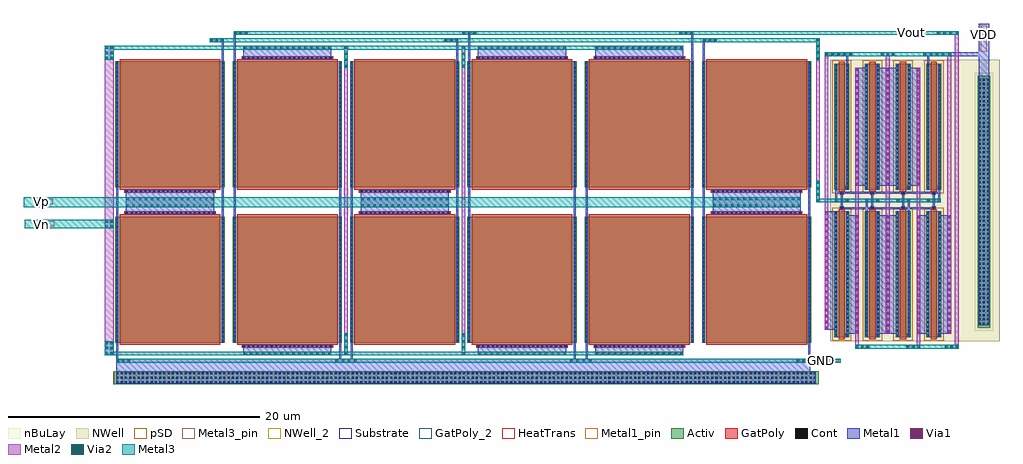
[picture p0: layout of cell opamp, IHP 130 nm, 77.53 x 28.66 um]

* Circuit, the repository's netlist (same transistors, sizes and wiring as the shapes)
** sch_path: /shared/designs/Layouts/ib_ctat_ptat/opamp.sch
.subckt opamp VDD Vp Vn GND Vout
*.PININFO VDD:B Vp:I Vn:I GND:B Vout:O
M4 net1 Vp GND net2 sg13_lv_nmos w=10u l=8u ng=1 m=6
M5 net1 net1 VDD net3 sg13_lv_pmos w=10u l=0.5u ng=1 m=4
M7 Vout net1 VDD net3 sg13_lv_pmos w=10u l=0.5u ng=1 m=4
M8 Vout Vn GND net2 sg13_lv_nmos w=10u l=8u ng=1 m=6
R1 VDD net3 ntap1 A=1e-11 P=4.1e-05
R2 GND net2 ptap1 A=5.6e-11 P=0.000114
.ends

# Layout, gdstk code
from math import pi, radians
import gdstk
lib = gdstk.Library(unit=1e-6, precision=5e-09)
def R(c, l, rs):  # rectangles x0, y0, x1, y1
    for r in rs: c.add(gdstk.rectangle(r[:2], r[2:], *l))
def A(c, l, x, y, w, h, nx, ny, dx, dy):  # array of equal rectangles
    R(c, l, [(x+i*dx, y+j*dy, x+i*dx+w, y+j*dy+h) for i in range(nx) for j in range(ny)])
Activ = (1, 0)
GatPoly = (5, 0)
GatPoly_2 = (5, 2)
Cont = (6, 0)
Metal1 = (8, 0)
Metal1_pin = (8, 2)
Metal2 = (10, 0)
pSD = (14, 0)
Via1 = (19, 0)
Via2 = (29, 0)
Metal3 = (30, 0)
Metal3_pin = (30, 2)
NWell = (31, 0)
NWell_2 = (31, 2)
nBuLay = (32, 0)
Substrate = (40, 0)
HeatTrans = (51, 0)

nmos_1 = lib.new_cell('nmos$1')
R(nmos_1, Activ, [(0,0,0.3,0.3), (0,0,8.68,10), (8.38,0,8.68,0.3)])
R(nmos_1, GatPoly, [(0.34,-0.18,8.34,10.18)])
R(nmos_1, GatPoly_2, [(0.34,-0.18,8.34,10.18)])
A(nmos_1, Cont, 0.07, 0.07, 0.16, 0.16, 1, 4, 0, 0.345)
A(nmos_1, Cont, 8.45, 0.07, 0.16, 0.16, 1, 4, 0, 0.345)
A(nmos_1, Cont, 0.07, 1.455, 0.16, 0.16, 1, 3, 0, 0.345)
A(nmos_1, Cont, 8.45, 1.455, 0.16, 0.16, 1, 3, 0, 0.345)
A(nmos_1, Cont, 0.07, 2.495, 0.16, 0.16, 1, 4, 0, 0.345)
A(nmos_1, Cont, 8.45, 2.495, 0.16, 0.16, 1, 4, 0, 0.345)
A(nmos_1, Cont, 0.07, 3.88, 0.16, 0.16, 1, 3, 0, 0.345)
A(nmos_1, Cont, 8.45, 3.88, 0.16, 0.16, 1, 3, 0, 0.345)
A(nmos_1, Cont, 0.07, 4.92, 0.16, 0.16, 1, 4, 0, 0.345)
A(nmos_1, Cont, 8.45, 4.92, 0.16, 0.16, 1, 4, 0, 0.345)
A(nmos_1, Cont, 0.07, 6.305, 0.16, 0.16, 1, 3, 0, 0.345)
A(nmos_1, Cont, 8.45, 6.305, 0.16, 0.16, 1, 3, 0, 0.345)
A(nmos_1, Cont, 0.07, 7.345, 0.16, 0.16, 1, 4, 0, 0.345)
A(nmos_1, Cont, 8.45, 7.345, 0.16, 0.16, 1, 4, 0, 0.345)
A(nmos_1, Cont, 0.07, 8.73, 0.16, 0.16, 1, 3, 0, 0.345)
A(nmos_1, Cont, 8.45, 8.73, 0.16, 0.16, 1, 3, 0, 0.345)
R(nmos_1, Cont, [(0.07,9.77,0.23,9.93), (8.45,9.77,8.61,9.93)])
R(nmos_1, Metal1, [(0.07,0,0.23,10), (8.45,0,8.61,10)])
R(nmos_1, Metal1_pin, [(0.07,0,0.23,10), (8.45,0,8.61,10)])
R(nmos_1, HeatTrans, [(0.34,-0.18,8.34,10.18)])
nmos_1.add(gdstk.Label('nmos', (4.34,5), layer=63, texttype=0))
nmos_1.add(gdstk.Label('nmos', (4.34,5), layer=51, texttype=0))

via_stack_13 = lib.new_cell('via_stack$13')
R(via_stack_13, Metal2, [(-0.145,-0.865,0.145,0.865)])
A(via_stack_13, Via2, -0.095, -0.815, 0.19, 0.19, 1, 4, 0, 0.48)
R(via_stack_13, Metal3, [(-0.145,-0.865,0.145,0.865)])

via_stack_10 = lib.new_cell('via_stack$10')
R(via_stack_10, Metal1, [(-3.505,-0.385,3.505,0.385)])
R(via_stack_10, Metal2, [(-3.505,-0.385,3.505,0.385)])
A(via_stack_10, Via1, -3.455, -0.335, 0.19, 0.19, 15, 2, 0.48, 0.48)
A(via_stack_10, Via2, -3.455, -0.335, 0.19, 0.19, 15, 2, 0.48, 0.48)
R(via_stack_10, Metal3, [(-3.505,-0.385,3.505,0.385)])

via_stack_8 = lib.new_cell('via_stack$8')
R(via_stack_8, Metal1, [(-3.505,-0.145,3.505,0.145)])
R(via_stack_8, Metal2, [(-3.505,-0.145,3.505,0.145)])
A(via_stack_8, Via1, -3.455, -0.095, 0.19, 0.19, 15, 1, 0.48, 0)
A(via_stack_8, Via2, -3.455, -0.095, 0.19, 0.19, 15, 1, 0.48, 0)
R(via_stack_8, Metal3, [(-3.505,-0.145,3.505,0.145)])

via_stack_14 = lib.new_cell('via_stack$14')
R(via_stack_14, Metal1, [(-0.865,-0.145,0.865,0.145)])
R(via_stack_14, Metal2, [(-0.865,-0.145,0.865,0.145)])
A(via_stack_14, Via1, -0.815, -0.095, 0.19, 0.19, 4, 1, 0.48, 0)
A(via_stack_14, Via2, -0.815, -0.095, 0.19, 0.19, 4, 1, 0.48, 0)
R(via_stack_14, Metal3, [(-0.865,-0.145,0.865,0.145)])

via_stack = lib.new_cell('via_stack')
R(via_stack, Metal1, [(-0.555,-0.145,0.555,0.145)])
R(via_stack, Metal2, [(-0.555,-0.145,0.555,0.145)])
A(via_stack, Via1, -0.505, -0.095, 0.19, 0.19, 3, 1, 0.41, 0)
A(via_stack, Via2, -0.505, -0.095, 0.19, 0.19, 3, 1, 0.41, 0)
R(via_stack, Metal3, [(-0.555,-0.145,0.555,0.145)])

pmos_1 = lib.new_cell('pmos$1')
R(pmos_1, Activ, [(0,0,0.3,0.3), (0,0,1.18,10), (0.88,0,1.18,0.3)])
R(pmos_1, GatPoly, [(0.34,-0.18,0.84,10.18), (0.34,-0.18,0.84,10.18)])
A(pmos_1, Cont, 0.07, 0.07, 0.16, 0.16, 1, 4, 0, 0.345)
A(pmos_1, Cont, 0.95, 0.07, 0.16, 0.16, 1, 4, 0, 0.345)
A(pmos_1, Cont, 0.07, 1.455, 0.16, 0.16, 1, 3, 0, 0.345)
A(pmos_1, Cont, 0.95, 1.455, 0.16, 0.16, 1, 3, 0, 0.345)
A(pmos_1, Cont, 0.07, 2.495, 0.16, 0.16, 1, 4, 0, 0.345)
A(pmos_1, Cont, 0.95, 2.495, 0.16, 0.16, 1, 4, 0, 0.345)
A(pmos_1, Cont, 0.07, 3.88, 0.16, 0.16, 1, 3, 0, 0.345)
A(pmos_1, Cont, 0.95, 3.88, 0.16, 0.16, 1, 3, 0, 0.345)
A(pmos_1, Cont, 0.07, 4.92, 0.16, 0.16, 1, 4, 0, 0.345)
A(pmos_1, Cont, 0.95, 4.92, 0.16, 0.16, 1, 4, 0, 0.345)
A(pmos_1, Cont, 0.07, 6.305, 0.16, 0.16, 1, 3, 0, 0.345)
A(pmos_1, Cont, 0.95, 6.305, 0.16, 0.16, 1, 3, 0, 0.345)
A(pmos_1, Cont, 0.07, 7.345, 0.16, 0.16, 1, 4, 0, 0.345)
A(pmos_1, Cont, 0.95, 7.345, 0.16, 0.16, 1, 4, 0, 0.345)
A(pmos_1, Cont, 0.07, 8.73, 0.16, 0.16, 1, 3, 0, 0.345)
A(pmos_1, Cont, 0.95, 8.73, 0.16, 0.16, 1, 3, 0, 0.345)
R(pmos_1, Cont, [(0.07,9.77,0.23,9.93), (0.95,9.77,1.11,9.93)])
R(pmos_1, Metal1, [(0.07,0,0.23,10), (0.07,0,0.23,10), (0.95,0,1.11,10), (0.95,0,1.11,10)])
R(pmos_1, pSD, [(-0.18,-0.3,1.36,10.3)])
R(pmos_1, NWell, [(-0.31,-0.31,1.49,10.31)])
R(pmos_1, Substrate, [(0.88,0,1.18,0.3)])
R(pmos_1, HeatTrans, [(0.34,-0.18,0.84,10.18)])
pmos_1.add(gdstk.Label('pmos', (0.59,5), layer=63, texttype=0))
pmos_1.add(gdstk.Label('pmos', (0.59,5), layer=51, texttype=0))

via_stack_3 = lib.new_cell('via_stack$3')
R(via_stack_3, Metal1, [(-0.145,-4.705,0.145,4.705)])
R(via_stack_3, Metal2, [(-0.145,-4.705,0.145,4.705)])
A(via_stack_3, Via1, -0.095, -4.655, 0.19, 0.19, 1, 20, 0, 0.48)

via_stack_4 = lib.new_cell('via_stack$4')
R(via_stack_4, Metal1, [(-1.105,-0.145,1.105,0.145)])
R(via_stack_4, Metal2, [(-1.105,-0.145,1.105,0.145)])
A(via_stack_4, Via1, -1.055, -0.095, 0.19, 0.19, 5, 1, 0.48, 0)
A(via_stack_4, Via2, -1.055, -0.095, 0.19, 0.19, 5, 1, 0.48, 0)
R(via_stack_4, Metal3, [(-1.105,-0.145,1.105,0.145)])

via_stack_5 = lib.new_cell('via_stack$5')
R(via_stack_5, Metal2, [(-0.555,-0.145,0.555,0.145)])
A(via_stack_5, Via2, -0.505, -0.095, 0.19, 0.19, 3, 1, 0.41, 0)
R(via_stack_5, Metal3, [(-0.555,-0.145,0.555,0.145)])

via_stack_15 = lib.new_cell('via_stack$15')
R(via_stack_15, Metal2, [(-0.35,-0.555,0.35,0.555)])
A(via_stack_15, Via2, -0.3, -0.505, 0.19, 0.19, 1, 3, 0, 0.41)
A(via_stack_15, Via2, 0.11, -0.505, 0.19, 0.19, 1, 3, 0, 0.41)
R(via_stack_15, Metal3, [(-0.35,-0.555,0.35,0.555)])

via_stack_11 = lib.new_cell('via_stack$11')
R(via_stack_11, Metal2, [(-0.35,-0.35,0.35,0.35)])
R(via_stack_11, Via2, [(-0.3,-0.3,-0.11,-0.11), (0.11,-0.3,0.3,-0.11), (-0.3,0.11,-0.11,0.3), (0.11,0.11,0.3,0.3)])
R(via_stack_11, Metal3, [(-0.35,-0.35,0.35,0.35)])

via_stack_16 = lib.new_cell('via_stack$16')
R(via_stack_16, Metal2, [(-0.865,-0.145,0.865,0.145)])
A(via_stack_16, Via2, -0.815, -0.095, 0.19, 0.19, 4, 1, 0.48, 0)
R(via_stack_16, Metal3, [(-0.865,-0.145,0.865,0.145)])

ntap1_1 = lib.new_cell('ntap1$1')
R(ntap1_1, Activ, [(0,0,1,20)])
A(ntap1_1, Cont, 0.08, 0.23, 0.16, 0.16, 3, 58, 0.34, 0.34)
R(ntap1_1, Metal1, [(0.08,0.18,0.92,19.82)])
R(ntap1_1, Metal1_pin, [(0.08,0.18,0.92,19.82), (0.08,0.23,0.92,19.77)])
R(ntap1_1, NWell, [(-0.24,-0.24,1.24,20.24), (0,0,1,20)])
R(ntap1_1, NWell_2, [(0,0,1,20)])
R(ntap1_1, nBuLay, [(-0.24,-0.24,1.24,20.24)])
ntap1_1.add(gdstk.Label('well', (0.5,0.01), layer=63, texttype=0))
ntap1_1.add(gdstk.Label('well', (0.5,0.01), layer=31, texttype=0))

ptap1 = lib.new_cell('ptap1')
R(ptap1, Activ, [(0,0,56,1)])
A(ptap1, Cont, 0.21, 0.08, 0.16, 0.16, 164, 3, 0.34, 0.34)
R(ptap1, Metal1, [(0.21,0.03,55.79,0.97), (0.21,0.08,55.79,0.92)])
R(ptap1, Metal1_pin, [(0.21,0.08,55.79,0.92)])
R(ptap1, pSD, [(-0.03,-0.03,56.03,1.03)])
R(ptap1, Substrate, [(0,0,56,1)])
ptap1.add(gdstk.Label('sub!', (28,0.01), layer=63, texttype=0))
ptap1.add(gdstk.Label('sub!', (28,0.01), layer=40, texttype=0))

opamp = lib.new_cell('opamp')
A(opamp, GatPoly, 87.01, 12.655, 0.31, 0.235, 4, 2, 2.44, 1.125)
R(opamp, GatPoly, [(39.49,1.64,46.77,1.875), (58.13,1.64,65.41,1.875), (58.13,1.64,65.41,1.875), (67.45,1.64,74.73,1.875), (67.45,1.64,74.73,1.875), (30.17,12.235,37.45,12.47), (48.81,12.235,56.09,12.47), (48.81,12.235,56.09,12.47), (76.77,12.235,84.05,12.47), (30.17,13.965,37.45,14.2), (48.81,13.965,56.09,14.2), (48.81,13.965,56.09,14.2), (76.77,13.965,84.05,14.2), (76.77,13.965,84.05,14.2), (39.49,24.56,46.77,24.795), (58.13,24.56,65.41,24.795), (67.45,24.56,74.73,24.795)])
A(opamp, Cont, 39.63, 1.715, 0.16, 0.16, 20, 2, 0.36, 22.845)
A(opamp, Cont, 30.31, 12.235, 0.16, 0.16, 20, 2, 0.36, 1.805)
A(opamp, Cont, 76.91, 12.235, 0.16, 0.16, 20, 1, 0.36, 0)
A(opamp, Cont, 87.085, 12.655, 0.16, 0.16, 4, 2, 2.44, 1.2)
A(opamp, Cont, 58.27, 24.56, 0.16, 0.16, 20, 1, 0.36, 0)
A(opamp, Cont, 67.59, 24.56, 0.16, 0.16, 20, 1, 0.36, 0)
R(opamp, Cont, [(58.27,1.715,58.43,1.875), (58.27,1.715,58.43,1.875), (58.63,1.715,58.79,1.875), (58.63,1.715,58.79,1.875), (58.99,1.715,59.15,1.875), (58.99,1.715,59.15,1.875), (59.35,1.715,59.51,1.875), (59.35,1.715,59.51,1.875), (59.71,1.715,59.87,1.875), (59.71,1.715,59.87,1.875), (60.07,1.715,60.23,1.875), (60.07,1.715,60.23,1.875), (60.43,1.715,60.59,1.875), (60.43,1.715,60.59,1.875), (60.79,1.715,60.95,1.875), (60.79,1.715,60.95,1.875), (61.15,1.715,61.31,1.875), (61.15,1.715,61.31,1.875), (61.51,1.715,61.67,1.875), (61.51,1.715,61.67,1.875), (61.87,1.715,62.03,1.875), (61.87,1.715,62.03,1.875), (62.23,1.715,62.39,1.875), (62.23,1.715,62.39,1.875), (62.59,1.715,62.75,1.875), (62.59,1.715,62.75,1.875), (62.95,1.715,63.11,1.875), (62.95,1.715,63.11,1.875), (63.31,1.715,63.47,1.875), (63.31,1.715,63.47,1.875), (63.67,1.715,63.83,1.875), (63.67,1.715,63.83,1.875), (64.03,1.715,64.19,1.875), (64.03,1.715,64.19,1.875), (64.39,1.715,64.55,1.875), (64.39,1.715,64.55,1.875), (64.75,1.715,64.91,1.875), (64.75,1.715,64.91,1.875), (65.11,1.715,65.27,1.875), (65.11,1.715,65.27,1.875), (67.59,1.715,67.75,1.875), (67.59,1.715,67.75,1.875), (67.95,1.715,68.11,1.875), (67.95,1.715,68.11,1.875), (68.31,1.715,68.47,1.875), (68.31,1.715,68.47,1.875), (68.67,1.715,68.83,1.875), (68.67,1.715,68.83,1.875), (69.03,1.715,69.19,1.875), (69.03,1.715,69.19,1.875), (69.39,1.715,69.55,1.875), (69.39,1.715,69.55,1.875), (69.75,1.715,69.91,1.875), (69.75,1.715,69.91,1.875), (70.11,1.715,70.27,1.875), (70.11,1.715,70.27,1.875), (70.47,1.715,70.63,1.875), (70.47,1.715,70.63,1.875), (70.83,1.715,70.99,1.875), (70.83,1.715,70.99,1.875), (71.19,1.715,71.35,1.875), (71.19,1.715,71.35,1.875), (71.55,1.715,71.71,1.875), (71.55,1.715,71.71,1.875), (71.91,1.715,72.07,1.875), (71.91,1.715,72.07,1.875), (72.27,1.715,72.43,1.875), (72.27,1.715,72.43,1.875), (72.63,1.715,72.79,1.875), (72.63,1.715,72.79,1.875), (72.99,1.715,73.15,1.875), (72.99,1.715,73.15,1.875), (73.35,1.715,73.51,1.875), (73.35,1.715,73.51,1.875), (73.71,1.715,73.87,1.875), (73.71,1.715,73.87,1.875), (74.07,1.715,74.23,1.875), (74.07,1.715,74.23,1.875), (74.43,1.715,74.59,1.875), (74.43,1.715,74.59,1.875), (48.95,12.235,49.11,12.395), (48.95,12.235,49.11,12.395), (49.31,12.235,49.47,12.395), (49.31,12.235,49.47,12.395), (49.67,12.235,49.83,12.395), (49.67,12.235,49.83,12.395), (50.03,12.235,50.19,12.395), (50.03,12.235,50.19,12.395), (50.39,12.235,50.55,12.395), (50.39,12.235,50.55,12.395), (50.75,12.235,50.91,12.395), (50.75,12.235,50.91,12.395), (51.11,12.235,51.27,12.395), (51.11,12.235,51.27,12.395), (51.47,12.235,51.63,12.395), (51.47,12.235,51.63,12.395), (51.83,12.235,51.99,12.395), (51.83,12.235,51.99,12.395), (52.19,12.235,52.35,12.395), (52.19,12.235,52.35,12.395), (52.55,12.235,52.71,12.395), (52.55,12.235,52.71,12.395), (52.91,12.235,53.07,12.395), (52.91,12.235,53.07,12.395), (53.27,12.235,53.43,12.395), (53.27,12.235,53.43,12.395), (53.63,12.235,53.79,12.395), (53.63,12.235,53.79,12.395), (53.99,12.235,54.15,12.395), (53.99,12.235,54.15,12.395), (54.35,12.235,54.51,12.395), (54.35,12.235,54.51,12.395), (54.71,12.235,54.87,12.395), (54.71,12.235,54.87,12.395), (55.07,12.235,55.23,12.395), (55.07,12.235,55.23,12.395), (55.43,12.235,55.59,12.395), (55.43,12.235,55.59,12.395), (55.79,12.235,55.95,12.395), (55.79,12.235,55.95,12.395), (48.95,14.04,49.11,14.2), (48.95,14.04,49.11,14.2), (49.31,14.04,49.47,14.2), (49.31,14.04,49.47,14.2), (49.67,14.04,49.83,14.2), (49.67,14.04,49.83,14.2), (50.03,14.04,50.19,14.2), (50.03,14.04,50.19,14.2), (50.39,14.04,50.55,14.2), (50.39,14.04,50.55,14.2), (50.75,14.04,50.91,14.2), (50.75,14.04,50.91,14.2), (51.11,14.04,51.27,14.2), (51.11,14.04,51.27,14.2), (51.47,14.04,51.63,14.2), (51.47,14.04,51.63,14.2), (51.83,14.04,51.99,14.2), (51.83,14.04,51.99,14.2), (52.19,14.04,52.35,14.2), (52.19,14.04,52.35,14.2), (52.55,14.04,52.71,14.2), (52.55,14.04,52.71,14.2), (52.91,14.04,53.07,14.2), (52.91,14.04,53.07,14.2), (53.27,14.04,53.43,14.2), (53.27,14.04,53.43,14.2), (53.63,14.04,53.79,14.2), (53.63,14.04,53.79,14.2), (53.99,14.04,54.15,14.2), (53.99,14.04,54.15,14.2), (54.35,14.04,54.51,14.2), (54.35,14.04,54.51,14.2), (54.71,14.04,54.87,14.2), (54.71,14.04,54.87,14.2), (55.07,14.04,55.23,14.2), (55.07,14.04,55.23,14.2), (55.43,14.04,55.59,14.2), (55.43,14.04,55.59,14.2), (55.79,14.04,55.95,14.2), (55.79,14.04,55.95,14.2), (76.91,14.04,77.07,14.2), (76.91,14.04,77.07,14.2), (77.27,14.04,77.43,14.2), (77.27,14.04,77.43,14.2), (77.63,14.04,77.79,14.2), (77.63,14.04,77.79,14.2), (77.99,14.04,78.15,14.2), (77.99,14.04,78.15,14.2), (78.35,14.04,78.51,14.2), (78.35,14.04,78.51,14.2), (78.71,14.04,78.87,14.2), (78.71,14.04,78.87,14.2), (79.07,14.04,79.23,14.2), (79.07,14.04,79.23,14.2), (79.43,14.04,79.59,14.2), (79.43,14.04,79.59,14.2), (79.79,14.04,79.95,14.2), (79.79,14.04,79.95,14.2), (80.15,14.04,80.31,14.2), (80.15,14.04,80.31,14.2), (80.51,14.04,80.67,14.2), (80.51,14.04,80.67,14.2), (80.87,14.04,81.03,14.2), (80.87,14.04,81.03,14.2), (81.23,14.04,81.39,14.2), (81.23,14.04,81.39,14.2), (81.59,14.04,81.75,14.2), (81.59,14.04,81.75,14.2), (81.95,14.04,82.11,14.2), (81.95,14.04,82.11,14.2), (82.31,14.04,82.47,14.2), (82.31,14.04,82.47,14.2), (82.67,14.04,82.83,14.2), (82.67,14.04,82.83,14.2), (83.03,14.04,83.19,14.2), (83.03,14.04,83.19,14.2), (83.39,14.04,83.55,14.2), (83.39,14.04,83.55,14.2), (83.75,14.04,83.91,14.2), (83.75,14.04,83.91,14.2)])
A(opamp, Metal1, 87.085, 12.655, 0.16, 0.825, 4, 2, 2.44, 0.535)
R(opamp, Metal1, [(29.54,-1.215,84.68,0.75), (29.54,0.46,29.7,24.38), (47.24,0.46,47.4,24.38), (48.18,0.46,48.34,24.38), (65.88,0.46,66.04,24.38), (66.82,0.46,66.98,24.38), (84.52,0.46,84.68,24.38), (39.625,1.05,46.635,1.875), (58.265,1.05,65.275,1.875), (67.585,1.05,74.595,1.875), (39.555,1.715,46.705,1.875), (58.195,1.715,65.345,1.875), (67.515,1.715,74.665,1.875), (37.92,2.055,38.08,26.21), (38.86,2.055,39.02,26.8), (56.56,2.055,56.72,26.21), (57.5,2.055,57.66,26.8), (75.2,2.055,75.36,26.8), (76.14,2.055,76.3,26.21), (86.645,2.475,86.805,12.475), (87.525,2.475,87.685,12.475), (89.085,2.475,89.245,13.48), (89.965,2.475,90.125,12.475), (91.525,2.475,91.685,12.475), (92.405,2.475,92.565,13.48), (93.965,2.475,94.125,12.475), (94.845,2.475,95.005,12.475), (87.525,2.77,88.53,12.18), (89.965,2.77,91.685,12.18), (93.12,2.77,94.125,12.18), (94.845,2.77,95.85,12.18), (85.8,3.065,86.805,12.475), (98.045,3.42,98.885,27.39), (30.235,12.235,37.385,12.395), (30.305,12.235,37.315,13.175), (48.875,12.235,56.025,12.395), (48.945,12.235,55.955,13.145), (76.835,12.235,83.985,12.395), (76.905,12.235,83.915,13.145), (87.01,12.655,94.64,12.815), (48.945,13.145,55.955,14.2), (76.905,13.145,83.915,14.2), (86.645,13.19,86.805,24.195), (94.845,13.19,95.005,24.195), (30.305,13.26,37.315,14.2), (86.645,13.855,95.005,14.015), (30.235,14.04,37.385,14.2), (48.875,14.04,56.025,14.2), (76.835,14.04,83.985,14.2), (87.525,14.195,87.685,25.095), (89.085,14.195,89.245,24.195), (89.965,14.195,90.125,24.195), (91.525,14.195,91.685,24.195), (92.405,14.195,92.565,24.195), (92.405,14.195,92.565,24.195), (93.965,14.195,94.125,25.095), (88.24,14.49,89.245,23.9), (89.965,14.49,91.685,23.9), (92.405,14.49,93.41,23.9), (39.555,24.56,46.705,24.72), (39.625,24.56,46.635,25.62), (58.195,24.56,65.345,24.72), (58.265,24.56,65.275,25.62), (67.515,24.56,74.665,24.72), (67.585,24.56,74.595,25.62), (93.64,24.805,98.885,25.095)])
R(opamp, Metal1_pin, [(98.225,25.135,98.68,27.23)])
R(opamp, Metal2, [(28.62,1.05,29.32,25.62), (56.965,1.05,57.255,25.62), (47.645,1.135,47.935,25.62), (88.24,1.575,88.53,23.9), (93.12,1.575,93.41,23.9), (96.155,1.575,96.445,26.8), (95.56,2.77,95.85,25.095), (90.68,3.01,90.97,25.095), (85.8,3.065,86.09,25.095), (85.13,13.19,85.42,26.21)])
R(opamp, Metal3, [(29.54,0.46,87.105,0.75), (28.62,1.05,74.595,1.34), (48.945,1.05,74.595,1.34), (88.24,1.575,96.445,1.865), (22.265,11.115,29.32,11.815), (22.17,12.815,83.915,13.585), (85.13,13.19,95.04,13.48), (85.8,24.805,95.85,25.095), (28.62,25.33,74.595,25.62), (36.97,25.92,85.42,26.21), (38.86,26.51,96.445,26.8)])
R(opamp, Metal3_pin, [(85.745,0.52,86.96,0.69), (23.02,11.295,24.62,11.685), (23.015,13.045,24.5,13.47), (91.875,26.59,93.465,26.74)])
R(opamp, NWell, [(86.265,2.165,99.7,24.505)])
opamp.add(gdstk.Reference(nmos_1, (29.47,2.055)))
opamp.add(gdstk.Reference(nmos_1, (38.79,2.055)))
opamp.add(gdstk.Reference(nmos_1, (48.11,2.055)))
opamp.add(gdstk.Reference(nmos_1, (57.43,2.055)))
opamp.add(gdstk.Reference(nmos_1, (66.75,2.055)))
opamp.add(gdstk.Reference(nmos_1, (76.07,2.055)))
opamp.add(gdstk.Reference(via_stack_13, (47.79,24.755)))
opamp.add(gdstk.Reference(via_stack_10, (52.45,13.2)))
opamp.add(gdstk.Reference(via_stack_8, (43.13,1.195), x_reflection=True))
opamp.add(gdstk.Reference(via_stack_10, (80.41,13.2)))
opamp.add(gdstk.Reference(via_stack_8, (61.77,1.195), x_reflection=True))
opamp.add(gdstk.Reference(via_stack_8, (71.09,1.195), x_reflection=True))
opamp.add(gdstk.Reference(via_stack_13, (57.11,1.915)))
opamp.add(gdstk.Reference(via_stack_8, (43.13,25.475), x_reflection=True))
opamp.add(gdstk.Reference(via_stack_8, (61.77,25.475), x_reflection=True))
opamp.add(gdstk.Reference(via_stack_8, (71.09,25.475), x_reflection=True))
opamp.add(gdstk.Reference(nmos_1, (29.47,14.38)))
opamp.add(gdstk.Reference(nmos_1, (38.79,14.38)))
opamp.add(gdstk.Reference(nmos_1, (48.11,14.38)))
opamp.add(gdstk.Reference(nmos_1, (57.43,14.38)))
opamp.add(gdstk.Reference(nmos_1, (66.75,14.38)))
opamp.add(gdstk.Reference(nmos_1, (76.07,14.38)))
opamp.add(gdstk.Reference(via_stack_10, (33.81,13.2)))
opamp.add(gdstk.Reference(via_stack_13, (47.79,1.915)))
opamp.add(gdstk.Reference(via_stack_14, (47.79,0.605)))
opamp.add(gdstk.Reference(via_stack, (37.525,26.065)))
opamp.add(gdstk.Reference(via_stack_14, (66.43,0.605)))
opamp.add(gdstk.Reference(via_stack, (84.125,0.605)))
opamp.add(gdstk.Reference(via_stack, (30.095,0.605)))
opamp.add(gdstk.Reference(via_stack, (56.165,26.065)))
opamp.add(gdstk.Reference(via_stack, (76.695,26.065)))
opamp.add(gdstk.Reference(via_stack, (39.415,26.655)))
opamp.add(gdstk.Reference(via_stack, (74.805,26.655)))
opamp.add(gdstk.Reference(via_stack, (57.58,26.655)))
opamp.add(gdstk.Reference(pmos_1, (86.575,2.475)))
opamp.add(gdstk.Reference(pmos_1, (89.015,2.475)))
opamp.add(gdstk.Reference(pmos_1, (91.455,2.475)))
opamp.add(gdstk.Reference(pmos_1, (93.895,2.475)))
opamp.add(gdstk.Reference(via_stack, (89.605,13.335)))
opamp.add(gdstk.Reference(via_stack, (92.045,13.335)))
opamp.add(gdstk.Reference(pmos_1, (86.575,14.195)))
opamp.add(gdstk.Reference(pmos_1, (89.015,14.195)))
opamp.add(gdstk.Reference(pmos_1, (91.455,14.195)))
opamp.add(gdstk.Reference(pmos_1, (93.895,14.195)))
opamp.add(gdstk.Reference(via_stack_3, (90.825,7.475)))
opamp.add(gdstk.Reference(via_stack_3, (90.825,19.195)))
opamp.add(gdstk.Reference(via_stack_4, (86.905,24.95)))
opamp.add(gdstk.Reference(via_stack_4, (94.745,24.95)))
opamp.add(gdstk.Reference(via_stack_5, (90.825,24.95)))
opamp.add(gdstk.Reference(via_stack, (94.485,13.335)))
opamp.add(gdstk.Reference(via_stack, (87.165,13.335)))
opamp.add(gdstk.Reference(via_stack_3, (88.385,7.475)))
opamp.add(gdstk.Reference(via_stack_3, (88.385,19.195)))
opamp.add(gdstk.Reference(via_stack_3, (93.265,7.475), rotation=pi, x_reflection=True))
opamp.add(gdstk.Reference(via_stack_3, (93.265,19.195), rotation=pi, x_reflection=True))
opamp.add(gdstk.Reference(via_stack_3, (95.705,7.475)))
opamp.add(gdstk.Reference(via_stack_3, (85.945,7.77), rotation=pi, x_reflection=True))
opamp.add(gdstk.Reference(via_stack_5, (88.795,1.72)))
opamp.add(gdstk.Reference(via_stack_5, (92.855,1.72)))
opamp.add(gdstk.Reference(via_stack_13, (57.11,24.755)))
opamp.add(gdstk.Reference(via_stack_15, (28.97,25.065)))
opamp.add(gdstk.Reference(via_stack_15, (28.97,1.605)))
opamp.add(gdstk.Reference(via_stack_11, (28.97,11.465)))
opamp.add(gdstk.Reference(via_stack_13, (85.275,14.055)))
opamp.add(gdstk.Reference(via_stack_13, (85.275,25.345)))
opamp.add(gdstk.Reference(via_stack_16, (95.58,26.655)))
opamp.add(gdstk.Reference(ntap1_1, (97.965,3.24)))
opamp.add(gdstk.Reference(ptap1, (29.33,-1.245)))
opamp.add(gdstk.Reference(via_stack_5, (95.89,1.72)))
opamp.add(gdstk.Label('Vout', (92.745,26.655), layer=30, texttype=25))
opamp.add(gdstk.Label('Vp', (23.57,13.28), layer=30, texttype=25))
opamp.add(gdstk.Label('Vn', (23.57,11.45), layer=30, texttype=25))
opamp.add(gdstk.Label('GND', (85.59,0.605), layer=30, texttype=25))
opamp.add(gdstk.Label('VDD', (98.425,26.515), layer=8, texttype=25))

lib.write_gds('opamp.gds')
